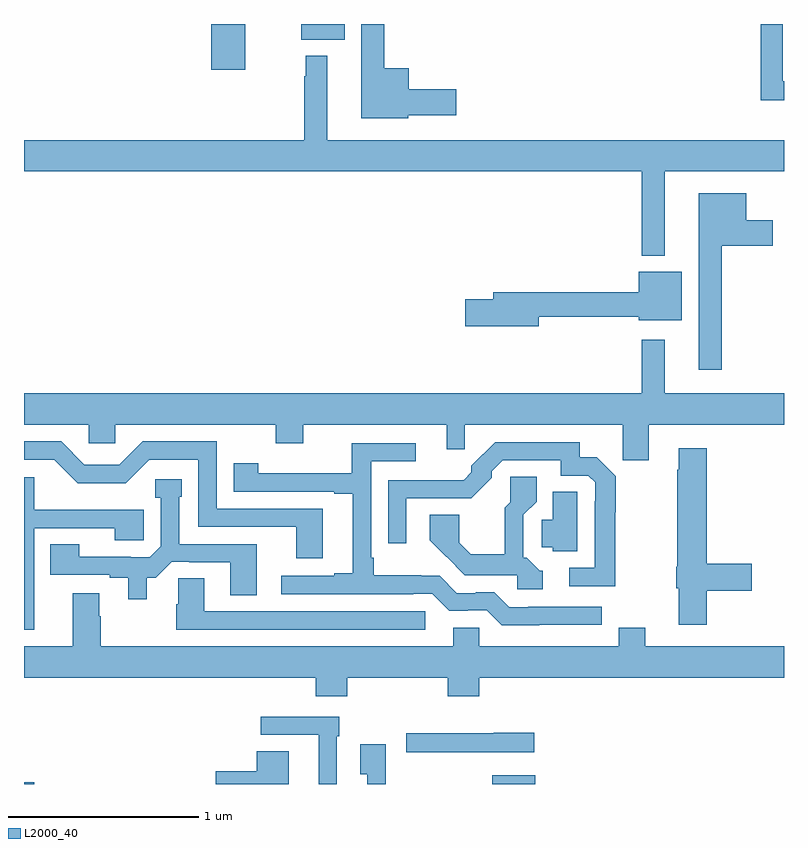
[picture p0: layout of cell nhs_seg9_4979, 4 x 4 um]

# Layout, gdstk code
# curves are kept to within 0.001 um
import gdstk
lib = gdstk.Library(unit=1e-6, precision=1e-09)
def R(c, l, rs):  # rectangles x0, y0, x1, y1
    for r in rs: c.add(gdstk.rectangle(r[:2], r[2:], *l))
def P(c, l, *ps):  # polygons
    for p in ps: c.add(gdstk.Polygon(p, *l))
L2000_40 = (2000, 40)

nhs_seg9_4979 = lib.new_cell('nhs_seg9_4979')
R(nhs_seg9_4979, L2000_40, [(399,1222.5,399.055,1222.508), (401.465,1222.5,401.692,1222.546), (399.986,1226.259,400.164,1226.5), (400.46,1226.417,400.687,1226.5)])
P(nhs_seg9_4979, L2000_40, [(401.022,1226.021),(401.275,1226.021),(401.275,1226.156),(401.026,1226.156),(401.026,1226.266),(400.897,1226.266),(400.897,1226.5),(400.775,1226.5),(400.775,1226.003),(401.022,1226.003)],
  [(403,1226.2),(402.993,1226.2),(402.993,1226.5),(402.877,1226.5),(402.877,1226.099),(403,1226.099)],
  [(402.373,1225.724),(403,1225.724),(403,1225.888),(400.597,1225.888),(400.597,1226.332),(400.483,1226.332),(400.483,1226.225),(400.476,1226.225),(400.476,1225.888),(399,1225.888),(399,1225.724),(402.252,1225.724),(402.252,1225.28),(402.373,1225.28)],
  [(402.673,1225.334),(402.94,1225.334),(402.94,1225.468),(402.802,1225.468),(402.802,1225.609),(402.551,1225.609),(402.551,1224.681),(402.673,1224.681)],
  [(401.71,1224.96),(402.236,1224.96),(402.236,1224.941),(402.463,1224.941),(402.463,1225.195),(402.236,1225.195),(402.236,1225.088),(401.471,1225.088),(401.471,1225.052),(401.322,1225.052),(401.322,1224.91),(401.71,1224.91)],
  [(402.289,1224.392),(403,1224.392),(403,1224.556),(402.373,1224.556),(402.373,1224.838),(402.252,1224.838),(402.252,1224.556),(399,1224.556),(399,1224.392),(399.342,1224.392),(399.342,1224.294),(399.48,1224.294),(399.48,1224.392),(400.324,1224.392),(400.324,1224.293),(400.471,1224.293),(400.471,1224.392),(401.225,1224.392),(401.225,1224.263),(401.321,1224.263),(401.321,1224.392),(402.151,1224.392),(402.151,1224.204),(402.289,1224.204)],
  [(400.573,1223.949),(400.014,1223.949),(400.014,1224.303),(399.624,1224.303),(399.501,1224.18),(399.318,1224.18),(399.195,1224.303),(399,1224.303),(399,1224.207),(399.158,1224.207),(399.282,1224.083),(399.536,1224.083),(399.66,1224.207),(399.918,1224.207),(399.918,1223.853),(400.433,1223.853),(400.433,1223.688),(400.573,1223.688)],
  [(402.112,1223.929),(402.114,1223.929),(402.114,1224.12),(402.014,1224.22),(401.925,1224.22),(401.925,1224.3),(401.48,1224.3),(401.355,1224.175),(401.355,1224.141),(401.314,1224.1),(400.917,1224.099),(400.917,1223.766),(401.013,1223.766),(401.013,1224.003),(401.353,1224.003),(401.463,1224.113),(401.463,1224.147),(401.52,1224.204),(401.826,1224.204),(401.826,1224.123),(401.97,1224.123),(402.006,1224.087),(402.006,1223.987),(402.003,1223.987),(402.003,1223.637),(401.871,1223.637),(401.871,1223.541),(402.112,1223.541)],
  [(401.711,1223.337),(402.04,1223.337),(402.04,1223.433),(401.653,1223.433),(401.653,1223.43),(401.553,1223.43),(401.475,1223.508),(401.378,1223.508),(401.378,1223.505),(401.277,1223.505),(401.187,1223.595),(401.09,1223.595),(401.09,1223.599),(400.84,1223.599),(400.84,1223.692),(400.827,1223.692),(400.827,1224.198),(401.062,1224.198),(401.062,1224.294),(400.726,1224.294),(400.726,1224.136),(400.232,1224.136),(400.232,1224.187),(400.104,1224.187),(400.104,1224.039),(400.634,1224.039),(400.634,1224.027),(400.73,1224.027),(400.73,1223.608),(400.634,1223.608),(400.634,1223.595),(400.353,1223.595),(400.353,1223.499),(401.048,1223.499),(401.048,1223.502),(401.148,1223.502),(401.238,1223.412),(401.336,1223.412),(401.336,1223.415),(401.436,1223.415),(401.515,1223.336)],
  [(402.593,1223.518),(402.829,1223.518),(402.829,1223.66),(402.593,1223.66),(402.593,1224.268),(402.446,1224.268),(402.446,1224.155),(402.439,1224.155),(402.439,1223.643),(402.433,1223.643),(402.433,1223.529),(402.446,1223.529),(402.446,1223.337),(402.593,1223.337)],
  [(401.731,1223.622),(401.715,1223.622),(401.646,1223.691),(401.628,1223.691),(401.628,1223.916),(401.698,1223.986),(401.698,1224.118),(401.559,1224.118),(401.559,1223.983),(401.53,1223.954),(401.53,1223.709),(401.351,1223.709),(401.29,1223.77),(401.29,1223.918),(401.136,1223.918),(401.136,1223.782),(401.321,1223.598),(401.595,1223.598),(401.595,1223.526),(401.731,1223.526)],
  [(399.054,1223.847),(399.478,1223.847),(399.478,1223.782),(399.631,1223.782),(399.631,1223.943),(399.521,1223.943),(399.521,1223.944),(399.054,1223.944),(399.054,1224.115),(399,1224.115),(399,1223.312),(399.054,1223.312)],
  [(399.646,1223.586),(399.693,1223.586),(399.777,1223.67),(399.871,1223.67),(399.871,1223.667),(400.085,1223.667),(400.085,1223.494),(400.225,1223.494),(400.225,1223.763),(399.816,1223.763),(399.816,1224.012),(399.829,1224.012),(399.829,1224.105),(399.69,1224.105),(399.69,1224.007),(399.72,1224.007),(399.72,1223.751),(399.663,1223.694),(399.563,1223.694),(399.563,1223.697),(399.291,1223.697),(399.291,1223.762),(399.139,1223.762),(399.139,1223.601),(399.452,1223.601),(399.452,1223.586),(399.548,1223.586),(399.548,1223.472),(399.646,1223.472)],
  [(401.913,1224.038),(401.783,1224.038),(401.783,1223.891),(401.724,1223.891),(401.724,1223.745),(401.784,1223.745),(401.784,1223.726),(401.913,1223.726)],
  [(401.113,1223.409),(399.949,1223.409),(399.949,1223.582),(399.811,1223.582),(399.811,1223.445),(399.802,1223.445),(399.802,1223.313),(401.113,1223.313)],
  [(402.131,1223.323),(402.131,1223.224),(401.397,1223.224),(401.397,1223.322),(401.258,1223.322),(401.258,1223.224),(399.405,1223.224),(399.405,1223.384),(399.397,1223.384),(399.397,1223.503),(399.257,1223.503),(399.257,1223.224),(399,1223.224),(399,1223.06),(400.535,1223.06),(400.535,1222.961),(400.7,1222.961),(400.7,1223.06),(401.231,1223.06),(401.231,1222.961),(401.396,1222.961),(401.396,1223.06),(403,1223.06),(403,1223.224),(402.271,1223.224),(402.271,1223.323)],
  [(400.647,1222.751),(400.66,1222.751),(400.66,1222.854),(400.245,1222.854),(400.245,1222.758),(400.55,1222.758),(400.55,1222.561),(400.551,1222.561),(400.551,1222.5),(400.647,1222.5)],
  [(401.369,1222.668),(401.686,1222.668),(401.686,1222.769),(401.473,1222.769),(401.473,1222.766),(401.013,1222.766),(401.013,1222.666),(401.369,1222.666)],
  [(400.905,1222.708),(400.769,1222.708),(400.769,1222.552),(400.806,1222.552),(400.806,1222.5),(400.905,1222.5)],
  [(400.393,1222.673),(400.226,1222.673),(400.226,1222.568),(400.008,1222.568),(400.008,1222.5),(400.393,1222.5)])

lib.write_gds('nhs_seg9_4979.gds')
